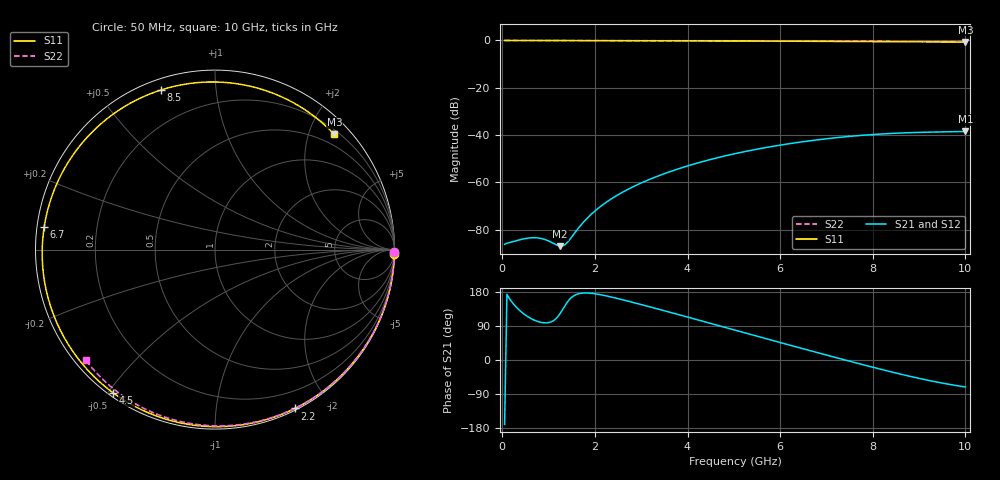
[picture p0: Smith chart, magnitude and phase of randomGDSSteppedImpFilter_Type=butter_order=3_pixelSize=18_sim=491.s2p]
! freq	dB(S11)	phase(S11)	dB(S12)	phase(S12)
!  dB(S21)	phase(S21)	dB(S22)	phase(S22)
!S-par simulation data
#  GHz  S  DB  R 50
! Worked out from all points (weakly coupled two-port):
!   200 points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, 50 MHz to 10 GHz, reference 50 ohm
!   highest |S21| = -38.46 dB at 10 GHz (marker M1); lowest = -86.9 dB at 1.25 GHz (marker M2)
!   lowest |S11| = -0.7 dB at 10 GHz (marker M3), VSWR 25.22, Z = 14 + j122 ohm
!   |S11| at or under -10 dB: nowhere
!   |S22| runs from -0.5 to 0.0 dB; largest |S21 - S12| = 0
!   S11 on the Smith chart (normalised r, x): 50 MHz: 0, -77; 2.2 GHz: 0.02, -1.62; 4.5 GHz: 0.01, -0.52; 6.7 GHz: 0.02, +0.07; 8.5 GHz: 0.05, +0.72; 10 GHz: 0.28, +2.45
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0.05  -0.00 -1.5  -86.10 -169.8  -86.10 -169.8  -0.00 -0.8
0.65  -0.02 -19.1  -83.34 107.5  -83.34 107.5  -0.01 -10.5
1.25  -0.05 -36.5  -86.90 122.8  -86.90 122.8  -0.02 -20.0
1.6  -0.06 -46.5  -80.37 172.9  -80.37 172.9  -0.03 -25.5
1.75  -0.06 -50.7  -76.82 176.7  -76.82 176.7  -0.04 -27.9
2.2  -0.08 -63.3  -68.97 170.4  -68.97 170.4  -0.04 -34.9
2.75  -0.10 -78.4  -62.52 154.3  -62.52 154.3  -0.06 -43.3
3.4  -0.13 -96.0  -56.99 133.3  -56.99 133.3  -0.07 -53.0
3.95  -0.15 -110.7  -53.30 115.0  -53.30 115.0  -0.08 -61.1
4.5  -0.18 -125.3  -50.26 96.5  -50.26 96.5  -0.10 -68.9
5.05  -0.22 -140.1  -47.70 78.0  -47.70 78.0  -0.12 -76.6
5.9  -0.28 -163.7  -44.54 49.4  -44.54 49.4  -0.15 -88.1
6.7  -0.35 172.4  -42.24 22.9  -42.24 22.9  -0.19 -98.6
7.1  -0.40 159.6  -41.31 9.8  -41.31 9.8  -0.21 -103.7
7.5  -0.44 146.1  -40.52 -3.2  -40.52 -3.2  -0.24 -108.8
7.9  -0.48 131.8  -39.88 -16.0  -39.88 -16.0  -0.27 -113.8
8.35  -0.53 114.6  -39.33 -29.9  -39.33 -29.9  -0.31 -119.4
8.5  -0.55 108.7  -39.18 -34.4  -39.18 -34.4  -0.32 -121.2
8.9  -0.59 92.2  -38.89 -45.8  -38.89 -45.8  -0.35 -126.1
9.25  -0.62 77.2  -38.71 -54.9  -38.71 -54.9  -0.39 -130.4
9.6  -0.65 61.8  -38.59 -63.2  -38.59 -63.2  -0.43 -134.6
10  -0.69 44.0  -38.46 -71.2  -38.46 -71.2  -0.47 -139.5
